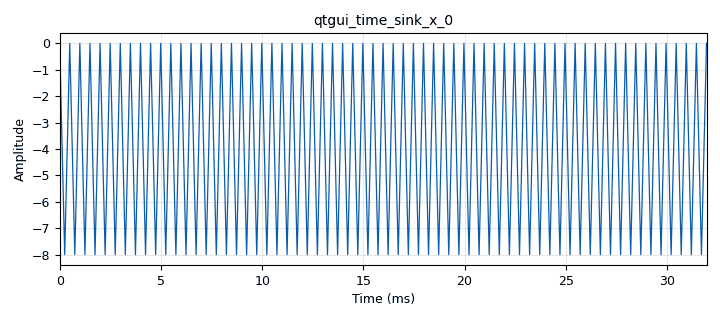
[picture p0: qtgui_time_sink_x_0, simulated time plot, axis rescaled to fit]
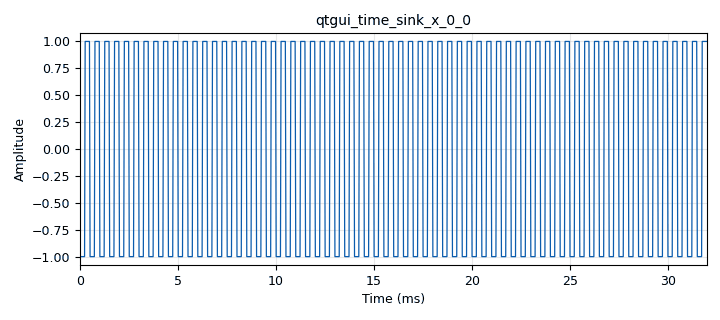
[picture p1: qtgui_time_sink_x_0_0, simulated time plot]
options:
  parameters:
    generate_options: qt_gui
    id: primer_intento_victor
    output_language: python
    title: primer intento victor
  states: {}

blocks:
- name: samp_rate
  id: variable
  parameters:
    value: '32000'
  states: {}
- name: analog_sig_source_x_0
  id: analog_sig_source_x
  parameters:
    amp: '1'
    freq: '1000'
    offset: '0'
    phase: '0'
    samp_rate: samp_rate
    type: complex
    waveform: analog.GR_COS_WAVE
  states: {state: disabled}
- name: analog_sig_source_x_1
  id: analog_sig_source_x
  parameters:
    amp: '2'
    freq: '2000'
    offset: '-1'
    phase: '0'
    samp_rate: samp_rate
    type: float
    waveform: analog.GR_SQR_WAVE
  states: {}
- name: blocks_throttle2_0
  id: blocks_throttle2
  parameters:
    samples_per_second: samp_rate
    type: float
  states: {}
- name: blocks_vector_source_x_0
  id: blocks_vector_source_x
  parameters:
    repeat: 'True'
    type: float
    vector: (1, -1, 2)
  states: {state: disabled}
- name: epy_block_0
  id: epy_block
  parameters:
    _source_code: |
      """
      Embedded Python Blocks:

      Each time this file is saved, GRC will instantiate the first class it finds
      to get ports and parameters of your block. The arguments to __init__  will
      be the parameters. All of them are required to have default values!
      """

      import numpy as np
      from gnuradio import gr

      class blk(gr.sync_block):
          """Embedded Python Block - Diferenciador acumulativo"""

          def __init__(self):
              gr.sync_block.__init__(
                  self,
                  name='e_Diff',
                  in_sig=[np.float32],
                  out_sig=[np.float32]
              )
              self.acum_anterior = 0.0  # Inicializa el acumulador

          def work(self, input_items, output_items):
              x = input_items[0]        # Señal de entrada
              y0 = output_items[0]      # Señal de salida
              N = len(x)
              diff = np.cumsum(x) + self.acum_anterior
              self.acum_anterior = diff[-1]  # Guarda el último acumulado

              y0[:] = diff
              return len(y0)
  states: {}
- name: epy_block_1
  id: epy_block
  parameters:
    _source_code: |
      """
      Embedded Python Blocks:

      Each time this file is saved, GRC will instantiate the first class it finds
      to get ports and parameters of your block. The arguments to __init__  will
      be the parameters. All of them are required to have default values!
      """

      import numpy as np
      from gnuradio import gr

      class blk(gr.sync_block):    
          def __init__(self):  # solo argumentos por defecto
              gr.sync_block.__init__(
                  self,
                  name='e_Acum',  # aparecerá en GRC
                  in_sig=[np.float32],
                  out_sig=[np.float32]
              )
              self.total = 0.0  # acumulador para mantener el estado entre bloques

          def work(self, input_items, output_items):
              x = input_items[0]      # Señal de entrada
              y = output_items[0]     # Señal de salida acumulada

              # Acumulación continua con estado entre llamadas
              for i in range(len(x)):
                  self.total += x[i]
                  y[i] = self.total

              return len(y)
  states: {state: disabled}
- name: qtgui_time_sink_x_0
  id: qtgui_time_sink_x
  parameters:
    size: '1024'
    srate: samp_rate
    type: float
  states: {}
- name: qtgui_time_sink_x_0_0
  id: qtgui_time_sink_x
  parameters:
    size: '1024'
    srate: samp_rate
    type: float
  states: {}

connections:
- [analog_sig_source_x_1, '0', epy_block_0, '0']
- [analog_sig_source_x_1, '0', epy_block_1, '0']
- [analog_sig_source_x_1, '0', qtgui_time_sink_x_0_0, '0']
- [blocks_throttle2_0, '0', qtgui_time_sink_x_0, '0']
- [blocks_vector_source_x_0, '0', epy_block_0, '0']
- [blocks_vector_source_x_0, '0', epy_block_1, '0']
- [blocks_vector_source_x_0, '0', qtgui_time_sink_x_0_0, '0']
- [epy_block_0, '0', blocks_throttle2_0, '0']
- [epy_block_1, '0', blocks_throttle2_0, '0']

metadata:
  file_format: 1
  grc_version: v3.10.11.0-89-ga17f69e7
